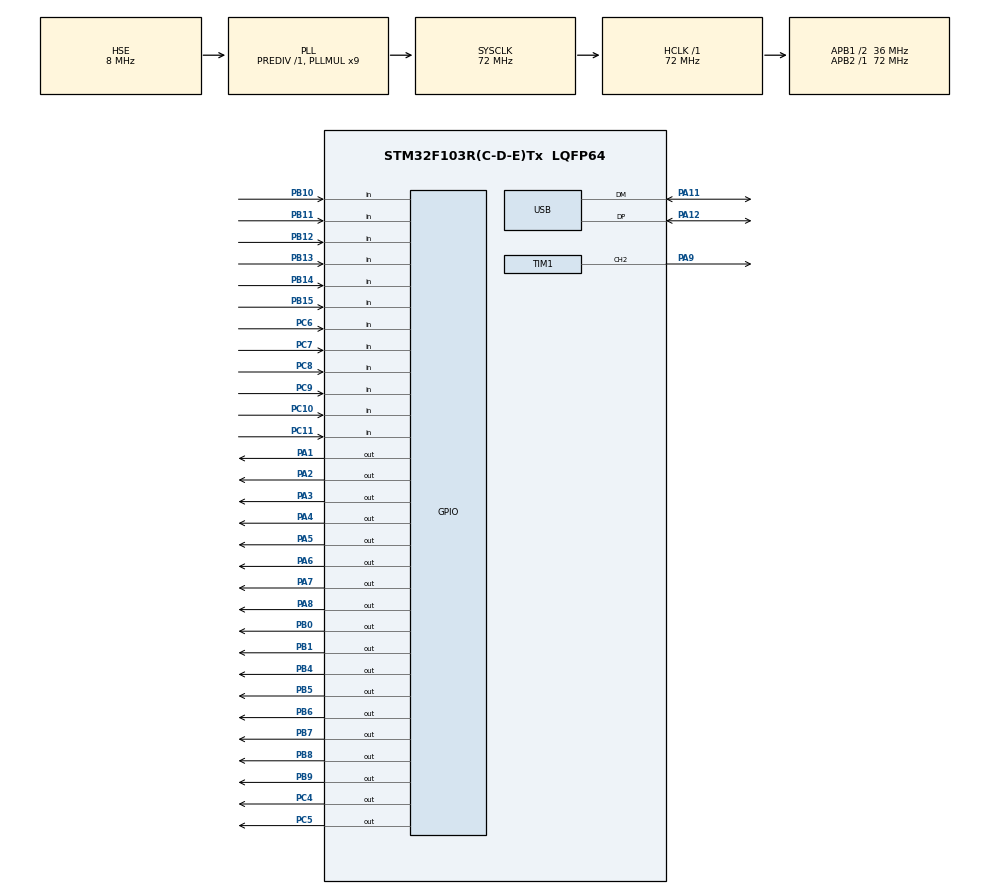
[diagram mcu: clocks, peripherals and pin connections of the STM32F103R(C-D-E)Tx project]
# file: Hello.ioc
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Dma.Request0=TIM1_CH2
Dma.TIM1_CH2.0.Direction=DMA_MEMORY_TO_PERIPH
Dma.TIM1_CH2.0.Instance=DMA1_Channel3
Dma.TIM1_CH2.0.MemDataAlignment=DMA_MDATAALIGN_WORD
Dma.TIM1_CH2.0.MemInc=DMA_MINC_ENABLE
Dma.TIM1_CH2.0.Mode=DMA_NORMAL
Dma.TIM1_CH2.0.PeriphDataAlignment=DMA_PDATAALIGN_WORD
Dma.TIM1_CH2.0.PeriphInc=DMA_PINC_DISABLE
Dma.TIM1_CH2.0.Priority=DMA_PRIORITY_VERY_HIGH
Mcu.Family=STM32F1
Mcu.Name=STM32F103R(C-D-E)Tx
Mcu.Package=LQFP64
NVIC.DMA1_Channel3_IRQn=true\:0\:0\:false\:false\:true\:false\:true\:true
NVIC.PriorityGroup=NVIC_PRIORITYGROUP_4
NVIC.TIM2_IRQn=true\:0\:0\:false\:false\:true\:true\:true\:true
NVIC.TIM3_IRQn=true\:0\:0\:false\:false\:true\:true\:true\:true
NVIC.USB_LP_CAN1_RX0_IRQn=true\:0\:0\:false\:false\:true\:false\:true\:true
PA1.Signal=GPIO_Output
PA11.Mode=Device
PA11.Signal=USB_DM
PA12.Mode=Device
PA12.Signal=USB_DP
PA13.Mode=Serial_Wire
PA13.Signal=SYS_JTMS-SWDIO
PA14.Mode=Serial_Wire
PA14.Signal=SYS_JTCK-SWCLK
PA2.Signal=GPIO_Output
PA3.Signal=GPIO_Output
PA4.Signal=GPIO_Output
PA5.Signal=GPIO_Output
PA6.Signal=GPIO_Output
PA7.Signal=GPIO_Output
PA8.Signal=GPIO_Output
PA9.Signal=S_TIM1_CH2
PB0.Signal=GPIO_Output
PB1.Signal=GPIO_Output
PB10.GPIO_PuPd=GPIO_PULLDOWN
PB10.Signal=GPIO_Input
PB11.GPIO_PuPd=GPIO_PULLDOWN
PB11.Signal=GPIO_Input
PB12.GPIO_PuPd=GPIO_PULLDOWN
PB12.Signal=GPIO_Input
PB13.GPIO_PuPd=GPIO_PULLDOWN
PB13.Signal=GPIO_Input
PB14.GPIO_PuPd=GPIO_PULLDOWN
PB14.Signal=GPIO_Input
PB15.GPIO_PuPd=GPIO_PULLDOWN
PB15.Signal=GPIO_Input
PB4.Signal=GPIO_Output
PB5.Signal=GPIO_Output
PB6.Signal=GPIO_Output
PB7.Signal=GPIO_Output
PB8.Signal=GPIO_Output
PB9.Signal=GPIO_Output
PC10.GPIO_PuPd=GPIO_PULLDOWN
PC10.Signal=GPIO_Input
PC11.GPIO_PuPd=GPIO_PULLDOWN
PC11.Signal=GPIO_Input
PC4.Signal=GPIO_Output
PC5.Signal=GPIO_Output
PC6.GPIO_PuPd=GPIO_PULLDOWN
PC6.Signal=GPIO_Input
PC7.GPIO_PuPd=GPIO_PULLDOWN
PC7.Signal=GPIO_Input
PC8.GPIO_PuPd=GPIO_PULLDOWN
PC8.Signal=GPIO_Input
PC9.GPIO_PuPd=GPIO_PULLDOWN
PC9.Signal=GPIO_Input
PD0-OSC_IN.Mode=HSE-External-Oscillator
PD0-OSC_IN.Signal=RCC_OSC_IN
PD1-OSC_OUT.Mode=HSE-External-Oscillator
PD1-OSC_OUT.Signal=RCC_OSC_OUT
ProjectManager.HeapSize=0x200
ProjectManager.StackSize=0x400
ProjectManager.TargetToolchain=STM32CubeIDE
RCC.AHBFreq_Value=72000000
RCC.APB1CLKDivider=RCC_HCLK_DIV2
RCC.APB1Freq_Value=36000000
RCC.APB1TimFreq_Value=72000000
RCC.APB2Freq_Value=72000000
RCC.APB2TimFreq_Value=72000000
RCC.HCLKFreq_Value=72000000
RCC.PLLMUL=RCC_PLL_MUL9
RCC.PLLSourceVirtual=RCC_PLLSOURCE_HSE
RCC.SYSCLKFreq_VALUE=72000000
RCC.SYSCLKSource=RCC_SYSCLKSOURCE_PLLCLK
RCC.USBFreq_Value=48000000
RCC.USBPrescaler=RCC_USBCLKSOURCE_PLL_DIV1_5
SH.S_TIM1_CH2.0=TIM1_CH2,PWM Generation2 CH2
TIM1.Channel-PWM\ Generation2\ CH2=TIM_CHANNEL_2
TIM1.Period=89
TIM1.Prescaler=0
TIM2.Period=100-1
TIM2.Prescaler=72-1
TIM3.Period=71
USB_DEVICE.CLASS_NAME_FS=HID
USB_DEVICE.MANUFACTURER_STRING=STMicroelectronics
USB_DEVICE.VID=1155
USB_DEVICE.VirtualMode=Hid
USB_DEVICE.VirtualModeFS=Hid_FS
VP_TIM1_VS_ClockSourceINT.Mode=Internal
VP_TIM2_VS_ClockSourceINT.Mode=Internal
VP_TIM3_VS_ClockSourceINT.Mode=Internal
VP_USB_DEVICE_VS_USB_DEVICE_HID_FS.Mode=HID_FS
board=custom

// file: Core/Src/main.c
/* USER CODE BEGIN Header */
/**
 ******************************************************************************
 * @file           : main.c
 * @brief          : Main program body
 ******************************************************************************
 * @attention
 *
 * Copyright (c) 2023 STMicroelectronics.
 * All rights reserved.
 *
 * This software is licensed under terms that can be found in the LICENSE file
 * in the root directory of this software component.
 * If no LICENSE file comes with this software, it is provided AS-IS.
 *
 ******************************************************************************
 */
/* USER CODE END Header */
#include "main.h"
#include "usb_device.h"

/* USER CODE BEGIN Includes */

#include "usbd_hid.h"
#include "my_RGB.h"
#include "my_tft.h"
/* USER CODE END Includes */

TIM_HandleTypeDef htim1;
TIM_HandleTypeDef htim2;
TIM_HandleTypeDef htim3;
DMA_HandleTypeDef hdma_tim1_ch2;

/* USER CODE BEGIN PV */
extern USBD_HandleTypeDef hUsbDeviceFS;
//***********************************************************************************************************************************************************
//***********************************************************************************************************************************************************
//***********************************************************************************************************************************************************
//***********************************************************************************************************************************************************
//***********************************************************************************************************************************************************
#define MyKeyColNum 11                                                                                // 定义列的数量
#define MyKeyRowNum 12                                                                                // 定义行的数量
#define MyKeyGPIOReadRow(row) HAL_GPIO_ReadPin(MyKeyRowType[row], MyKeyRowPin[row])                   // 读取某行
#define MyKeyGPIOSetCol(col) HAL_GPIO_WritePin(MyKeyColType[col], MyKeyColPin[col], GPIO_PIN_SET)     // 设置某列
#define MyKeyGPIOResetCol(col) HAL_GPIO_WritePin(MyKeyColType[col], MyKeyColPin[col], GPIO_PIN_RESET) // 重置有行

// 分配引脚
typedef GPIO_TypeDef *MyGPIOType;
MyGPIOType MyKeyColType[MyKeyColNum] = {GPIOA, GPIOA, GPIOA, GPIOA, GPIOA, GPIOA, GPIOA,
                                        GPIOC, GPIOC, GPIOB, GPIOB};
uint16_t MyKeyColPin[MyKeyColNum] = {GPIO_PIN_1, GPIO_PIN_2, GPIO_PIN_3, GPIO_PIN_4, GPIO_PIN_5, GPIO_PIN_6, GPIO_PIN_7,
                                     GPIO_PIN_4, GPIO_PIN_5, GPIO_PIN_0, GPIO_PIN_1};
MyGPIOType MyKeyRowType[MyKeyRowNum] = {GPIOB, GPIOB, GPIOB, GPIOB, GPIOB, GPIOB,
                                        GPIOC, GPIOC, GPIOC, GPIOC, GPIOC, GPIOC};
uint16_t MyKeyRowPin[MyKeyRowNum] = {GPIO_PIN_10, GPIO_PIN_11, GPIO_PIN_12, GPIO_PIN_13, GPIO_PIN_14, GPIO_PIN_15,
                                     GPIO_PIN_6, GPIO_PIN_7, GPIO_PIN_8, GPIO_PIN_9, GPIO_PIN_10, GPIO_PIN_11};

#define MyKeyCountMax (200)                        // 0.1ms
int MyKeysCount[MyKeyRowNum][MyKeyColNum];         // 键盘的状态变化冷却计数器
uint8_t MyKeysLastState[MyKeyRowNum][MyKeyColNum]; // 键盘的状
uint8_t MyKeysNowState[MyKeyRowNum][MyKeyColNum];  // 键盘的状

#define DataExLen 2
uint8_t keyBoardData[16 + DataExLen] = {0x00}; // 待发送的数据0是以下按
uint16_t TFTColor = 0xF800;
uint32_t counter_01;
//|--bit0:   Left Control是否按下，按下为1
//|--bit1:   Left Shift  是否按下，按下为1
//|--bit2:   Left Alt    是否按下，按下为1
//|--bit3:   Left GUI（Windows键） 是否按下，按下为1
//|--bit4:   Right Control是否按下，按下为1
//|--bit5:   Right Shift 是否按下，按下为1
//|--bit6:   Right Alt   是否按下，按下为1
//|--bit7:   Right GUI   是否按下，按下为1

/*const uint32_t MyKeysCode[MyKeyRowNum][MyKeyColNum] = {
    //1111,222222,333333,444444,555555,666666,777777,888888,999999,101010,111111
    {'esc', '   ', '_f1', '_f2', '_f3', '_f4', '_f5', '_f6', '_f7', '_f8', '   '},//1
    {'_f9', 'f10', 'f11', 'f12', 'prt', 'scl', 'pse', '   ', '   ', '   ', '   '},//2
    //1111,222222,333333,444444,555555,666666,777777,888888,999999,101010,111111
    {'~``', '111', '222', '333', '444', '555', '666', '777', '888', '999', '000'},//3
    {'tab', 'QQQ', 'WWW', 'EEE', 'RRR', 'TTT', 'YYY', 'UUU', 'III', 'OOO', 'PPP'},//4
    {'cap', 'AAA', 'SSS', 'DDD', '   ', 'FFF', 'GGG', 'HHH', 'JJJ', 'KKK', 'LLL'},//5
    {'sft', 'ZZZ', 'XXX', 'CCC', '   ', 'VVV', 'BBB', 'NNN', 'MMM', '<,,', '>..'},//6
    {'ctl', 'win', 'alt', '   ', '   ', 'spc', '   ', '   ', '   ', '   ', 'alt'},//7
    //1111,222222,333333,444444,555555,666666,777777,888888,999999,101010,111111
    {'   ', '_--', '+==', 'bks', 'ist', 'hom', 'pgu', 'nml', '///', '***', '---'},//8
    {'   ', '{[[', '}]]', '|\\', 'del', 'end', 'pgd', 'nm7', 'nm8', 'nm9', '+++'},//9
    {'   ', ':;;', '"""', 'ent', '   ', '   ', '   ', 'nm4', 'nm5', 'nm6', '   '},//10
    {'   ', '   ', '?//', 'sft', '   ', 'upp', '   ', 'nm1', 'nm2', 'nm3', 'nme'},//11
    {'   ', 'win', 'nmu', 'ctl', 'let', 'dow', 'rig', 'nm0', '   ', '...', '   '}};//12
*/

const uint8_t MyKeysCode_Code[MyKeyRowNum][MyKeyColNum] = { // 待发送的数据地址
    // 1111,222222,333333,444444,555555,666666,777777,888888,999999,101010,111111
    {0x29, 0x00, 0x3a, 0x3b, 0x3c, 0x3d, 0x3e, 0x3f, 0x40, 0x41, 0x00}, // 1
    {0x42, 0x43, 0x44, 0x45, 0x46, 0x47, 0x48, 0x00, 0x00, 0x00, 0x00}, // 2
    // 1111,222222,333333,444444,555555,666666,777777,888888,999999,101010,111111
    {0x35, 0x1e, 0x1f, 0x20, 0x21, 0x22, 0x23, 0x24, 0x25, 0x26, 0x27}, // 3
    {0x2b, 0x14, 0x1a, 0x08, 0x15, 0x17, 0x1c, 0x18, 0x0c, 0x12, 0x13}, // 4
    {0x39, 0x04, 0x16, 0x07, 0x00, 0x09, 0x0a, 0x0b, 0x0d, 0x0e, 0x0f}, // 5
    {0xf1, 0x1d, 0x1b, 0x06, 0x00, 0x19, 0x05, 0x11, 0x10, 0x36, 0x37}, // 6
    {0xf0, 0xf3, 0xf2, 0x00, 0x00, 0x2c, 0x00, 0x00, 0x00, 0x00, 0xf6}, // 7
    // 1111,222222,333333,444444,555555,666666,777777,888888,999999,101010,111111
    {0x00, 0x2d, 0x2e, 0x2a, 0x49, 0x4a, 0x4b, 0x53, 0x54, 0x55, 0x56},  // 8
    {0x00, 0x2f, 0x30, 0x31, 0x4c, 0x4d, 0x4e, 0x5f, 0x60, 0x61, 0x57},  // 9
    {0x00, 0x33, 0x34, 0x28, 0x00, 0x00, 0x00, 0x5c, 0x5d, 0x5e, 0x00},  // 10
    {0x00, 0x00, 0x38, 0xf5, 0x00, 0x52, 0x00, 0x59, 0x5a, 0x5b, 0x58},  // 11
    {0x00, 0xff, 0x65, 0xf4, 0x50, 0x51, 0x4f, 0x62, 0x00, 0x63, 0x00}}; // 12
/* USER CODE END PV */

void SystemClock_Config(void);
static void MX_GPIO_Init(void);
static void MX_DMA_Init(void);
static void MX_TIM2_Init(void);
static void MX_TIM1_Init(void);
static void MX_TIM3_Init(void);

int main(void)
{

  /* MCU Configuration--------------------------------------------------------*/

  /* Reset of all peripherals, Initializes the Flash interface and the Systick. */
  HAL_Init();

  /* Configure the system clock */
  SystemClock_Config();

  /* Initialize all configured peripherals */
  MX_GPIO_Init();
  MX_DMA_Init();
  MX_TIM2_Init();
  MX_USB_DEVICE_Init();
  MX_TIM1_Init();
  MX_TIM3_Init();
  /* USER CODE BEGIN 2 */

  //***********************************************************************************************************************************************************
  //***********************************************************************************************************************************************************
  //***********************************************************************************************************************************************************
  //***********************************************************************************************************************************************************
  //***********************************************************************************************************************************************************
  HAL_TIM_Base_Start_IT(&htim2);        // 重启定时
  for (int i = 0; i < MyKeyColNum; i++) // 全部置为0
  {
    MyKeyGPIOResetCol(i);
  }
  TFT_SyncInit(GPIOB, GPIO_PIN_4,
               GPIOB, GPIO_PIN_5,
               GPIOB, GPIO_PIN_6,
               GPIOB, GPIO_PIN_7,
               GPIOB, GPIO_PIN_8,
               GPIOB, GPIO_PIN_9);

  MyTFT_SyncPrintChar('O', 0xff00);
  MyTFT_SyncPrintChar('K', 0x00ff);
  MyTFT_CloseScreen();

  RGB_SetAllColor32(RGB_Color_BLACK);
  RGB_SendLEDData();
  // HAL_TIM_Base_Start_IT(&htim3); // 初始化后再重启定�????

  /* USER CODE END 2 */

  /* Infinite loop */
  while (1)
  {

    /* USER CODE BEGIN 3 */
    //***********************************************************************************************************************************************************
    //***********************************************************************************************************************************************************
    //***********************************************************************************************************************************************************
    //***********************************************************************************************************************************************************
    //***********************************************************************************************************************************************************
    uint32_t keycode = 0;
    uint32_t showCodeNumber = keycode;
    static uint32_t lastkeycode = 0;
    for (int i = 0; i < sizeof(keyBoardData); i++)
    {
      keyBoardData[i] = 0;
    }
    int num = 0;
    char fnIsDown = 0;
    for (int i = 0; i < MyKeyRowNum; i++)
    {
      for (int j = 0; j < MyKeyColNum; j++)
      {
        if (MyKeysNowState[i][j])
        {
          if ((MyKeysCode_Code[i][j] & 0xf0) == 0xf0)
          {
            if ((MyKeysCode_Code[i][j] == 0xff))
            {
              fnIsDown = 1; // fnfnfn
            }
            else
            {
              keyBoardData[0] |= (1 << (MyKeysCode_Code[i][j] & 0x0f));//特殊按键
            }
          }
          else
          {
            keyBoardData[(MyKeysCode_Code[i][j] / 8) + 1] |= (1 << (MyKeysCode_Code[i][j] % 8));//普通按键
          }
          keycode = MyKeysCode_Code[i][j];
          num++;
        }
      }
    }

    static char state = 0;
    static char RCode = 0;
    static char GCode = 0;
    static char BCode = 0;
    static char nowCode = 0;
    if (fnIsDown)
    {
      nowCode = 0;
      if (keyBoardData[(0x52 / 8) + 1] & (1 << (0x52 % 8))) // up
      {
        state = 1;
      }
      if (keyBoardData[(0x51 / 8) + 1] & (1 << (0x51 % 8))) // down
      {
        state = 0;
      }
      if (keyBoardData[(0x50 / 8) + 1] & (1 << (0x50 % 8))) // left
      {
        MyTFT_CloseScreen();
      }
      if (keyBoardData[(0x4f / 8) + 1] & (1 << (0x4f % 8))) // right
      {
        MyTFT_OpenScreen();
      }

      if (keyBoardData[(0x62 / 8) + 1] & (1 << (0x62 % 8))) //0
      {
        // state = 0;
      }
      if (keyBoardData[(0x59 / 8) + 1] & (1 << (0x59 % 8))) //1
      {
        nowCode|=0x01;
        // state = 0x59;
      }
      if (keyBoardData[(0x5a / 8) + 1] & (1 << (0x5a % 8))) //2
      {
        nowCode|=0x02;
        // state = 0x5a;
      }
      if (keyBoardData[(0x5b / 8) + 1] & (1 << (0x5b % 8))) //3
      {
        nowCode|=0x04;
        // state = 0x5b;
      }
      if (keyBoardData[(0x5c / 8) + 1] & (1 << (0x5c % 8))) //4
      {
        nowCode|=0x08;
        // state = 0x5c;
      }
      if (keyBoardData[(0x5d / 8) + 1] & (1 << (0x5d % 8))) //5
      {
        nowCode|=0x10;
        // state = 0x5d;
      }
      if (keyBoardData[(0x5e / 8) + 1] & (1 << (0x5e % 8))) //6
      {
        nowCode|=0x20;
        // state = 0x5e;
      }
      if (keyBoardData[(0x5f / 8) + 1] & (1 << (0x5f % 8))) //7
      {
        nowCode|=0x40;
        // state = 0x5f;
      }
      if (keyBoardData[(0x60 / 8) + 1] & (1 << (0x60 % 8))) //8
      {
        nowCode|=0x80;
        // state = 0x60;
      }
      if (keyBoardData[(0x61 / 8) + 1] & (1 << (0x61 % 8))) //9
      {
        // state = 0x61;
      }
      if (keyBoardData[(0x15 / 8) + 1] & (1 << (0x15 % 8))) //r
      {
        RCode=nowCode;
        // state = 0x61;
      }
      if (keyBoardData[(0x0a / 8) + 1] & (1 << (0x0a % 8))) //g
      {
        GCode=nowCode;
        // state = 0x61;
      }
      if (keyBoardData[(0x05 / 8) + 1] & (1 << (0x05 % 8))) //b
      {
        BCode=nowCode;
        // state = 0x61;
      }

      ////////
      if (keyBoardData[(0x3a / 8) + 1] & (1 << (0x3a % 8))) // f1
      {
        keyBoardData[sizeof(keyBoardData) - DataExLen] = 0x80;
      }

      if (keyBoardData[(0x3b / 8) + 1] & (1 << (0x3b % 8))) // f2
      {
        keyBoardData[sizeof(keyBoardData) - DataExLen]= 0x81;
      }
      if (keyBoardData[(0x3c / 8) + 1] & (1 << (0x3c % 8))) // f3
      {
        keyBoardData[sizeof(keyBoardData) - DataExLen]= 0x82;
      }
      if (keyBoardData[(0x3d / 8) + 1] & (1 << (0x3d % 8))) // f4
      {
        keyBoardData[sizeof(keyBoardData) - DataExLen]= 0x83;
      }
      if (keyBoardData[(0x3e / 8) + 1] & (1 << (0x3e % 8))) // f5
      {
        keyBoardData[sizeof(keyBoardData) - DataExLen]= 0x84;
      }
      if (keyBoardData[(0x3f / 8) + 1] & (1 << (0x3f % 8))) // f6
      {
        keyBoardData[sizeof(keyBoardData) - DataExLen]= 0x85;
      }
      if (keyBoardData[(0x40 / 8) + 1] & (1 << (0x40 % 8))) // f7
      {
        keyBoardData[sizeof(keyBoardData) - DataExLen]= 0x86;
      }
      if (keyBoardData[(0x41 / 8) + 1] & (1 << (0x41 % 8))) // f8
      {
        keyBoardData[sizeof(keyBoardData) - DataExLen]= 0x87;
      }

      if (keyBoardData[(0x42 / 8) + 1] & (1 << (0x42 % 8))) // f9
      {
        keyBoardData[sizeof(keyBoardData) - DataExLen]= 90; //vol
      }
      if (keyBoardData[(0x43 / 8) + 1] & (1 << (0x43 % 8))) // f10
      {
        keyBoardData[sizeof(keyBoardData) - DataExLen]= 100; //vol
      }
      if (keyBoardData[(0x44 / 8) + 1] & (1 << (0x44 % 8))) // f11
      {
        keyBoardData[sizeof(keyBoardData) - DataExLen]= 00; //vol
      }
      if (keyBoardData[(0x45 / 8) + 1] & (1 << (0x45 % 8))) // f12
      {
        keyBoardData[sizeof(keyBoardData) - DataExLen]= 101; //vol
      }

      for (int i = 0; i < sizeof(keyBoardData) - DataExLen; i++) // fn set zero
      {
        keyBoardData[i] = 0;
      }
    }

    if (counter_01 > 10 * 200)//200ms
    {
      counter_01 = 0;
      /*
      switch (state)
      {
      case 0:
        RGB_SetAllColor32(RGB_Color(0, 0, 0));
        //RGB_SendLEDData();
        break;

      case 1:
        RGB_SetAllColor32(RGB_Color(3, 3, 3));
        //RGB_SendLEDData();
        state++;
        break;
      case 2:
        RGB_SetAllColor32(RGB_Color(4, 4, 4));
        //RGB_SendLEDData();
        state++;
        break;
      case 3:
        RGB_SetAllColor32(RGB_Color(5, 5, 5));
        //RGB_SendLEDData();
        state++;
        break;
      case 4:
        RGB_SetAllColor32(RGB_Color(4, 4, 4));
        //RGB_SendLEDData();
        state++;
        break;
      case 5:
        RGB_SetAllColor32(RGB_Color(3, 3, 3));
        //RGB_SendLEDData();
        state = 1;
        break;

      case 0x59: // 1
        RGB_SetAllColor32(RGB_Color(3, 3, 3));
        //RGB_SendLEDData();
        break;
      case 0x5a: // 2
        RGB_SetAllColor32(RGB_Color(4, 4, 4));
        //RGB_SendLEDData();
        break;
      case 0x5b: // 3
        RGB_SetAllColor32(RGB_Color(5, 5, 5));
        //RGB_SendLEDData();
        break;
      case 0x5c: // 4
        RGB_SetAllColor32(RGB_Color(6, 6, 6));
        //RGB_SendLEDData();
        break;
      case 0x5d: // 5
        RGB_SetAllColor32(RGB_Color(7, 7, 7));
        //RGB_SendLEDData();
        break;
      case 0x5e: // 6
        RGB_SetAllColor32(RGB_Color(8, 8, 8));
        //RGB_SendLEDData();
        break;
      case 0x5f: // 7
        RGB_SetAllColor32(RGB_Color(9, 9, 9));
        //RGB_SendLEDData();
        break;
      case 0x60: // 8
        RGB_SetAllColor32(RGB_Color(10, 10, 10));
        //RGB_SendLEDData();
        break;
      case 0x61: // 9
        RGB_SetAllColor32(RGB_Color(11, 11, 11));
        //RGB_SendLEDData();
        break;

      default:
        state = 0;
        break;
      }*/

      RGB_SetAllColor32(RGB_Color(RCode, GCode, BCode));
      if (fnIsDown)
      {
        RGB_SendLEDData();
      }
    }
    if (lastkeycode != keycode)
    {
      switch (TFTColor)
      {
      case 0xF800:
        TFTColor = 0x07E0;
        break;
      case 0x07E0:
        TFTColor = 0x001F;
        break;
      case 0x001F:
        TFTColor = 0XFFE0;
        break;
      case 0XFFE0:
        TFTColor = 0XF81F;
        break;
      case 0XF81F:
        TFTColor = 0X07FF;
        break;
      case 0X07FF:
        TFTColor = 0xF800;
        break;
      default:
        TFTColor = 0xF800;
        break;
      }
      switch (keycode)
      {
      case 0:
        // MyTFT_SyncPrintChar('8', 0x0000);
        // RGB_SetAllColor32(RGB_Color_BLACK);
        // RGB_SendLEDData();
        break;
      default:
        showCodeNumber = keycode;
        if(showCodeNumber>=0x04 && showCodeNumber<=0x1D){
          showCodeNumber += 61;
          MyTFT_SyncPrintChar(showCodeNumber, TFTColor);
          // showCodeNumber += 32;
        }
        else if (showCodeNumber == 0x2C)
        {
          MyTFT_SyncPrintChar(' ', TFTColor);
        }
        else if (showCodeNumber == 0x1E)
        {
          MyTFT_SyncPrintChar('!', TFTColor);
        }

        // MyTFT_SyncPrintChar(num + '0', 0x00ff);
        // RGB_SetAllColor32(RGB_Color(2, 2, 2));
        // RGB_SetColor32(3, RGB_Color_BLUE);
        // RGB_SendLEDData();
        break;
      }
    }

    lastkeycode = keycode;
    USBD_HID_SendReport(&hUsbDeviceFS, (uint8_t *)&keyBoardData, sizeof(keyBoardData));
  }
  /* USER CODE END 3 */
}

void SystemClock_Config(void)
{
  RCC_OscInitTypeDef RCC_OscInitStruct = {0};
  RCC_ClkInitTypeDef RCC_ClkInitStruct = {0};
  RCC_PeriphCLKInitTypeDef PeriphClkInit = {0};

  /** Initializes the RCC Oscillators according to the specified parameters
   * in the RCC_OscInitTypeDef structure.
   */
  RCC_OscInitStruct.OscillatorType = RCC_OSCILLATORTYPE_HSE;
  RCC_OscInitStruct.HSEState = RCC_HSE_ON;
  RCC_OscInitStruct.HSEPredivValue = RCC_HSE_PREDIV_DIV1;
  RCC_OscInitStruct.HSIState = RCC_HSI_ON;
  RCC_OscInitStruct.PLL.PLLState = RCC_PLL_ON;
  RCC_OscInitStruct.PLL.PLLSource = RCC_PLLSOURCE_HSE;
  RCC_OscInitStruct.PLL.PLLMUL = RCC_PLL_MUL9;
  if (HAL_RCC_OscConfig(&RCC_OscInitStruct) != HAL_OK)
  {
    Error_Handler();
  }

  /** Initializes the CPU, AHB and APB buses clocks
   */
  RCC_ClkInitStruct.ClockType = RCC_CLOCKTYPE_HCLK | RCC_CLOCKTYPE_SYSCLK | RCC_CLOCKTYPE_PCLK1 | RCC_CLOCKTYPE_PCLK2;
  RCC_ClkInitStruct.SYSCLKSource = RCC_SYSCLKSOURCE_PLLCLK;
  RCC_ClkInitStruct.AHBCLKDivider = RCC_SYSCLK_DIV1;
  RCC_ClkInitStruct.APB1CLKDivider = RCC_HCLK_DIV2;
  RCC_ClkInitStruct.APB2CLKDivider = RCC_HCLK_DIV1;

  if (HAL_RCC_ClockConfig(&RCC_ClkInitStruct, FLASH_LATENCY_2) != HAL_OK)
  {
    Error_Handler();
  }
  PeriphClkInit.PeriphClockSelection = RCC_PERIPHCLK_USB;
  PeriphClkInit.UsbClockSelection = RCC_USBCLKSOURCE_PLL_DIV1_5;
  if (HAL_RCCEx_PeriphCLKConfig(&PeriphClkInit) != HAL_OK)
  {
    Error_Handler();
  }
}

static void MX_TIM1_Init(void)
{

  TIM_ClockConfigTypeDef sClockSourceConfig = {0};
  TIM_MasterConfigTypeDef sMasterConfig = {0};
  TIM_OC_InitTypeDef sConfigOC = {0};
  TIM_BreakDeadTimeConfigTypeDef sBreakDeadTimeConfig = {0};

  htim1.Instance = TIM1;
  htim1.Init.Prescaler = 0;
  htim1.Init.CounterMode = TIM_COUNTERMODE_UP;
  htim1.Init.Period = 89;
  htim1.Init.ClockDivision = TIM_CLOCKDIVISION_DIV1;
  htim1.Init.RepetitionCounter = 0;
  htim1.Init.AutoReloadPreload = TIM_AUTORELOAD_PRELOAD_DISABLE;
  if (HAL_TIM_Base_Init(&htim1) != HAL_OK)
  {
    Error_Handler();
  }
  sClockSourceConfig.ClockSource = TIM_CLOCKSOURCE_INTERNAL;
  if (HAL_TIM_ConfigClockSource(&htim1, &sClockSourceConfig) != HAL_OK)
  {
    Error_Handler();
  }
  if (HAL_TIM_PWM_Init(&htim1) != HAL_OK)
  {
    Error_Handler();
  }
  sMasterConfig.MasterOutputTrigger = TIM_TRGO_RESET;
  sMasterConfig.MasterSlaveMode = TIM_MASTERSLAVEMODE_DISABLE;
  if (HAL_TIMEx_MasterConfigSynchronization(&htim1, &sMasterConfig) != HAL_OK)
  {
    Error_Handler();
  }
  sConfigOC.OCMode = TIM_OCMODE_PWM1;
  sConfigOC.Pulse = 0;
  sConfigOC.OCPolarity = TIM_OCPOLARITY_HIGH;
  sConfigOC.OCNPolarity = TIM_OCNPOLARITY_HIGH;
  sConfigOC.OCFastMode = TIM_OCFAST_DISABLE;
  sConfigOC.OCIdleState = TIM_OCIDLESTATE_RESET;
  sConfigOC.OCNIdleState = TIM_OCNIDLESTATE_RESET;
  if (HAL_TIM_PWM_ConfigChannel(&htim1, &sConfigOC, TIM_CHANNEL_2) != HAL_OK)
  {
    Error_Handler();
  }
  sBreakDeadTimeConfig.OffStateRunMode = TIM_OSSR_DISABLE;
  sBreakDeadTimeConfig.OffStateIDLEMode = TIM_OSSI_DISABLE;
  sBreakDeadTimeConfig.LockLevel = TIM_LOCKLEVEL_OFF;
  sBreakDeadTimeConfig.DeadTime = 0;
  sBreakDeadTimeConfig.BreakState = TIM_BREAK_DISABLE;
  sBreakDeadTimeConfig.BreakPolarity = TIM_BREAKPOLARITY_HIGH;
  sBreakDeadTimeConfig.AutomaticOutput = TIM_AUTOMATICOUTPUT_DISABLE;
  if (HAL_TIMEx_ConfigBreakDeadTime(&htim1, &sBreakDeadTimeConfig) != HAL_OK)
  {
    Error_Handler();
  }
  HAL_TIM_MspPostInit(&htim1);
}

static void MX_TIM2_Init(void)
{

  TIM_ClockConfigTypeDef sClockSourceConfig = {0};
  TIM_MasterConfigTypeDef sMasterConfig = {0};

  htim2.Instance = TIM2;
  htim2.Init.Prescaler = 72 - 1;
  htim2.Init.CounterMode = TIM_COUNTERMODE_UP;
  htim2.Init.Period = 100 - 1;
  htim2.Init.ClockDivision = TIM_CLOCKDIVISION_DIV1;
  htim2.Init.AutoReloadPreload = TIM_AUTORELOAD_PRELOAD_DISABLE;
  if (HAL_TIM_Base_Init(&htim2) != HAL_OK)
  {
    Error_Handler();
  }
  sClockSourceConfig.ClockSource = TIM_CLOCKSOURCE_INTERNAL;
  if (HAL_TIM_ConfigClockSource(&htim2, &sClockSourceConfig) != HAL_OK)
  {
    Error_Handler();
  }
  sMasterConfig.MasterOutputTrigger = TIM_TRGO_RESET;
  sMasterConfig.MasterSlaveMode = TIM_MASTERSLAVEMODE_DISABLE;
  if (HAL_TIMEx_MasterConfigSynchronization(&htim2, &sMasterConfig) != HAL_OK)
  {
    Error_Handler();
  }
}

static void MX_TIM3_Init(void)
{

  TIM_ClockConfigTypeDef sClockSourceConfig = {0};
  TIM_MasterConfigTypeDef sMasterConfig = {0};

  htim3.Instance = TIM3;
  htim3.Init.Prescaler = 0;
  htim3.Init.CounterMode = TIM_COUNTERMODE_UP;
  htim3.Init.Period = 71;
  htim3.Init.ClockDivision = TIM_CLOCKDIVISION_DIV1;
  htim3.Init.AutoReloadPreload = TIM_AUTORELOAD_PRELOAD_DISABLE;
  if (HAL_TIM_Base_Init(&htim3) != HAL_OK)
  {
    Error_Handler();
  }
  sClockSourceConfig.ClockSource = TIM_CLOCKSOURCE_INTERNAL;
  if (HAL_TIM_ConfigClockSource(&htim3, &sClockSourceConfig) != HAL_OK)
  {
    Error_Handler();
  }
  sMasterConfig.MasterOutputTrigger = TIM_TRGO_RESET;
  sMasterConfig.MasterSlaveMode = TIM_MASTERSLAVEMODE_DISABLE;
  if (HAL_TIMEx_MasterConfigSynchronization(&htim3, &sMasterConfig) != HAL_OK)
  {
    Error_Handler();
  }
}

static void MX_DMA_Init(void)
{

  /* DMA controller clock enable */
  __HAL_RCC_DMA1_CLK_ENABLE();

  /* DMA interrupt init */
  /* DMA1_Channel3_IRQn interrupt configuration */
  HAL_NVIC_SetPriority(DMA1_Channel3_IRQn, 0, 0);
  HAL_NVIC_EnableIRQ(DMA1_Channel3_IRQn);
}

static void MX_GPIO_Init(void)
{
  GPIO_InitTypeDef GPIO_InitStruct = {0};

  /* GPIO Ports Clock Enable */
  __HAL_RCC_GPIOD_CLK_ENABLE();
  __HAL_RCC_GPIOA_CLK_ENABLE();
  __HAL_RCC_GPIOC_CLK_ENABLE();
  __HAL_RCC_GPIOB_CLK_ENABLE();

  /*Configure GPIO pin Output Level */
  HAL_GPIO_WritePin(GPIOA, GPIO_PIN_1 | GPIO_PIN_2 | GPIO_PIN_3 | GPIO_PIN_4 | GPIO_PIN_5 | GPIO_PIN_6 | GPIO_PIN_7 | GPIO_PIN_8, GPIO_PIN_RESET);

  /*Configure GPIO pin Output Level */
  HAL_GPIO_WritePin(GPIOC, GPIO_PIN_4 | GPIO_PIN_5, GPIO_PIN_RESET);

  /*Configure GPIO pin Output Level */
  HAL_GPIO_WritePin(GPIOB, GPIO_PIN_0 | GPIO_PIN_1 | GPIO_PIN_4 | GPIO_PIN_5 | GPIO_PIN_6 | GPIO_PIN_7 | GPIO_PIN_8 | GPIO_PIN_9, GPIO_PIN_RESET);

  /*Configure GPIO pins : PA1 PA2 PA3 PA4
                           PA5 PA6 PA7 PA8 */
  GPIO_InitStruct.Pin = GPIO_PIN_1 | GPIO_PIN_2 | GPIO_PIN_3 | GPIO_PIN_4 | GPIO_PIN_5 | GPIO_PIN_6 | GPIO_PIN_7 | GPIO_PIN_8;
  GPIO_InitStruct.Mode = GPIO_MODE_OUTPUT_PP;
  GPIO_InitStruct.Pull = GPIO_NOPULL;
  GPIO_InitStruct.Speed = GPIO_SPEED_FREQ_LOW;
  HAL_GPIO_Init(GPIOA, &GPIO_InitStruct);

  /*Configure GPIO pins : PC4 PC5 */
  GPIO_InitStruct.Pin = GPIO_PIN_4 | GPIO_PIN_5;
  GPIO_InitStruct.Mode = GPIO_MODE_OUTPUT_PP;
  GPIO_InitStruct.Pull = GPIO_NOPULL;
  GPIO_InitStruct.Speed = GPIO_SPEED_FREQ_LOW;
  HAL_GPIO_Init(GPIOC, &GPIO_InitStruct);

  /*Configure GPIO pins : PB0 PB1 PB4 PB5
                           PB6 PB7 PB8 PB9 */
  GPIO_InitStruct.Pin = GPIO_PIN_0 | GPIO_PIN_1 | GPIO_PIN_4 | GPIO_PIN_5 | GPIO_PIN_6 | GPIO_PIN_7 | GPIO_PIN_8 | GPIO_PIN_9;
  GPIO_InitStruct.Mode = GPIO_MODE_OUTPUT_PP;
  GPIO_InitStruct.Pull = GPIO_NOPULL;
  GPIO_InitStruct.Speed = GPIO_SPEED_FREQ_LOW;
  HAL_GPIO_Init(GPIOB, &GPIO_InitStruct);

  /*Configure GPIO pins : PB10 PB11 PB12 PB13
                           PB14 PB15 */
  GPIO_InitStruct.Pin = GPIO_PIN_10 | GPIO_PIN_11 | GPIO_PIN_12 | GPIO_PIN_13 | GPIO_PIN_14 | GPIO_PIN_15;
  GPIO_InitStruct.Mode = GPIO_MODE_INPUT;
  GPIO_InitStruct.Pull = GPIO_PULLDOWN;
  HAL_GPIO_Init(GPIOB, &GPIO_InitStruct);

  /*Configure GPIO pins : PC6 PC7 PC8 PC9
                           PC10 PC11 */
  GPIO_InitStruct.Pin = GPIO_PIN_6 | GPIO_PIN_7 | GPIO_PIN_8 | GPIO_PIN_9 | GPIO_PIN_10 | GPIO_PIN_11;
  GPIO_InitStruct.Mode = GPIO_MODE_INPUT;
  GPIO_InitStruct.Pull = GPIO_PULLDOWN;
  HAL_GPIO_Init(GPIOC, &GPIO_InitStruct);

}

/* USER CODE BEGIN 4 */
//***********************************************************************************************************************************************************
//***********************************************************************************************************************************************************
//***********************************************************************************************************************************************************
//***********************************************************************************************************************************************************
//***********************************************************************************************************************************************************
int myNowCol = 0; // 当前1的列
// int num = 0;
void HAL_TIM_PeriodElapsedCallback(TIM_HandleTypeDef *htim)
{
  if (htim->Instance == TIM2) // 0.1ms 每次中断，换个列进行扫描，大0.1ms
  {
    counter_01++;
    MyTFT_SyncCore();
    for (int i = 0; i < MyKeyRowNum; i++) // 读取有的
    {
      if (MyKeysCount[i][myNowCol] > 0) //
      {
        MyKeysCount[i][myNowCol] -= MyKeyColNum;
      }
      else //
      {
        if (MyKeyGPIOReadRow(i) == GPIO_PIN_SET) // 如果当前的行读取1
        {
          MyKeysNowState[i][myNowCol] = 1;
        }
        else
        {
          MyKeysNowState[i][myNowCol] = 0;
        }
        if (MyKeysLastState[i][myNowCol] != MyKeysNowState[i][myNowCol]) // 按键相比于之前发生了变化，进入冷
        {
          MyKeysCount[i][myNowCol] = MyKeyCountMax;
          MyKeysLastState[i][myNowCol] = MyKeysNowState[i][myNowCol];
        }
      }
    }
    // 换到下一个引
    MyKeyGPIOResetCol(myNowCol);
    myNowCol++;
    myNowCol %= MyKeyColNum;
    MyKeyGPIOSetCol(myNowCol);
  }
}

/* USER CODE END 4 */

void Error_Handler(void)
{
  __disable_irq();
  while (1)
  {
  }
}
